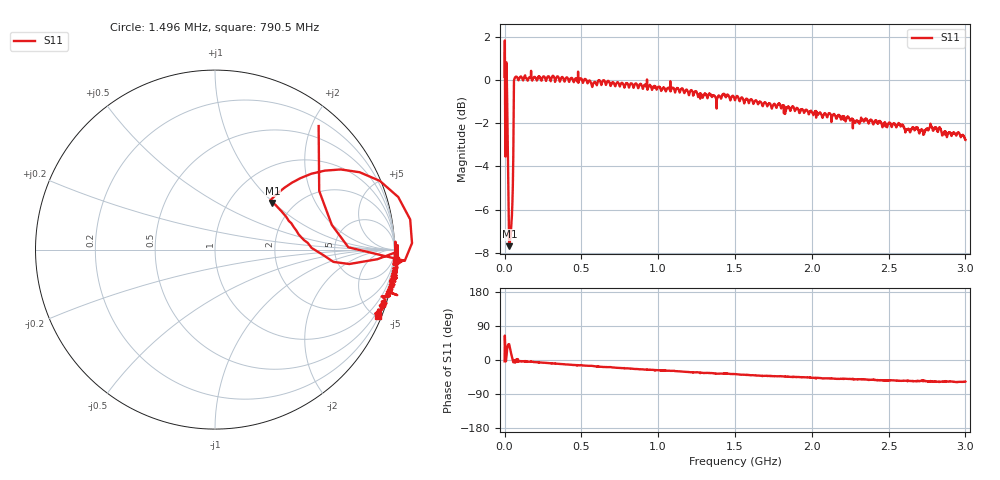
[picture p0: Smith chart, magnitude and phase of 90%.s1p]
# HZ S RI R 50
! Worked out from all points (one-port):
!   2020 points, 10 kHz to 3 GHz, reference 50 ohm
!   lowest |S11| = -7.7 dB at 31.21 MHz (marker M1), VSWR 2.40, Z = 78.2 + j49.1 ohm
!   |S11| at or under -10 dB: nowhere
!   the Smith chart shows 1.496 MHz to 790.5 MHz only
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10000  1.017 -0.0616
5953516  0.6506 0.138
1.635467e7  0.8055 0.4312
1.932643e7  0.6104 0.4398
2.378406e7  0.4281 0.3724
2.675582e7  0.3572 0.3208
3.121346e7  0.3197 0.2603
3.715698e7  0.383 0.1985
4.310049e7  0.4384 0.126
5.350164e7  0.5673 -0.00829
6.39028e7  1.006 -0.0353
7.133219e7  1.018 -0.00975
7.578983e7  1.018 0.0249
3.759374e8  0.9985 -0.1944
7.503789e8  0.9031 -0.3452
1.126306e9  0.8325 -0.4744
1.380392e9  0.6917 -0.5106
1.435369e9  0.744 -0.5411
1.500748e9  0.716 -0.5433
1.676082e9  0.6574 -0.5826
1.875189e9  0.6148 -0.6117
2.251117e9  0.518 -0.6183
2.575038e9  0.4532 -0.6475
2.625558e9  0.4447 -0.6293
2.726598e9  0.4249 -0.6187
2.766717e9  0.4175 -0.6542
2.820208e9  0.4108 -0.638
3e9  0.3955 -0.6098
